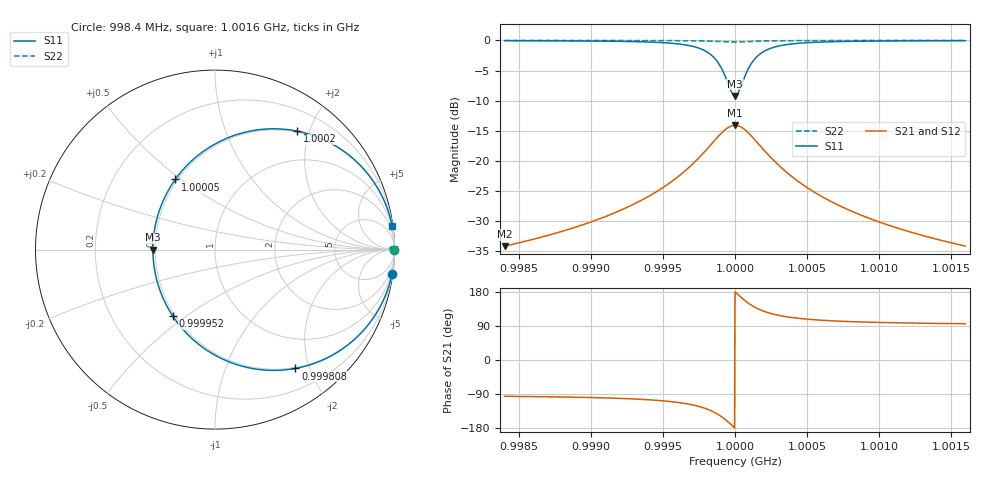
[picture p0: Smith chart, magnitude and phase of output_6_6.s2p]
! File generated for n1 = 6, n2 = 6
! b1 = 2.154435
! b2 = 0.046416
! Q0 = 10000.000000
! f0 = 1000000000.000000
! n = 1001
! rel_span = 10.000000
# Hz S RI R 50
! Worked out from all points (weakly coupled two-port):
!   1001 points, 998.4 MHz to 1.0016 GHz, reference 50 ohm
!   highest |S21| = -14.08 dB at 1 GHz (marker M1); lowest = -34.1 dB at 998.4 MHz (marker M2)
!   lowest |S11| = -9.2 dB at 1 GHz (marker M3), VSWR 2.06, Z = 24.3 + j0 ohm
!   |S11| at or under -10 dB: nowhere
!   |S22| runs from -0.3 to 0.0 dB; largest |S21 - S12| = 0
!   S11 on the Smith chart (normalised r, x): 998.4 MHz: 0, -15; 999.808 MHz: 0.49, -1.78; 999.952 MHz: 0.49, -0.45; 1.00005 GHz: 0.49, +0.48; 1.0002 GHz: 0.49, +1.81; 1.0016 GHz: 0, +15
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9.983996e8  0.9867 -0.1332  -0.00195 -0.0195  -0.00195 -0.0195  0.9997 -0.00287
9.989341e8  0.9704 -0.1976  -0.00435 -0.029  -0.00435 -0.029  0.9994 -0.00426
9.992382e8  0.9431 -0.2708  -0.00835 -0.0397  -0.00835 -0.0397  0.9988 -0.00583
9.994687e8  0.8881 -0.3717  -0.0164 -0.0546  -0.0164 -0.0546  0.9976 -0.00801
9.996735e8  0.7393 -0.532  -0.0383 -0.0781  -0.0383 -0.0781  0.9944 -0.0115
9.997471e8  0.6151 -0.6083  -0.0565 -0.0893  -0.0565 -0.0893  0.9917 -0.0131
9.998079e8  0.4484 -0.662  -0.081 -0.0972  -0.081 -0.0972  0.9881 -0.0143
9.99888e8  0.0966 -0.6324  -0.1326 -0.0928  -0.1326 -0.0928  0.9805 -0.0136
9.9992e8  -0.0769 -0.5385  -0.1581 -0.079  -0.1581 -0.079  0.9768 -0.0116
9.99952e8  -0.235 -0.3705  -0.1813 -0.0544  -0.1813 -0.0544  0.9734 -0.00798
1e9  -0.3462 0  -0.1976 0  -0.1976 0  0.971 0
1.000026e9  -0.3126 0.21  -0.1927 0.0308  -0.1927 0.0308  0.9717 0.00452
1.000051e9  -0.2211 0.3908  -0.1792 0.0574  -0.1792 0.0574  0.9737 0.00842
1.00008e9  -0.0769 0.5385  -0.1581 0.079  -0.1581 0.079  0.9768 0.0116
1.000112e9  0.0965 0.6324  -0.1326 0.0928  -0.1326 0.0928  0.9805 0.0136
1.000147e9  0.2709 0.6707  -0.107 0.0985  -0.107 0.0985  0.9843 0.0145
1.000195e9  0.459 0.66  -0.0794 0.0969  -0.0794 0.0969  0.9883 0.0142
1.000256e9  0.6218 0.6051  -0.0555 0.0888  -0.0555 0.0888  0.9919 0.013
1.00033e9  0.7432 0.5289  -0.0377 0.0776  -0.0377 0.0776  0.9945 0.0114
1.000535e9  0.8892 0.37  -0.0163 0.0543  -0.0163 0.0543  0.9976 0.00797
1.001069e9  0.9705 0.1972  -0.00434 0.0289  -0.00434 0.0289  0.9994 0.00425
1.0016e9  0.9867 0.1334  -0.00196 0.0196  -0.00196 0.0196  0.9997 0.00287
